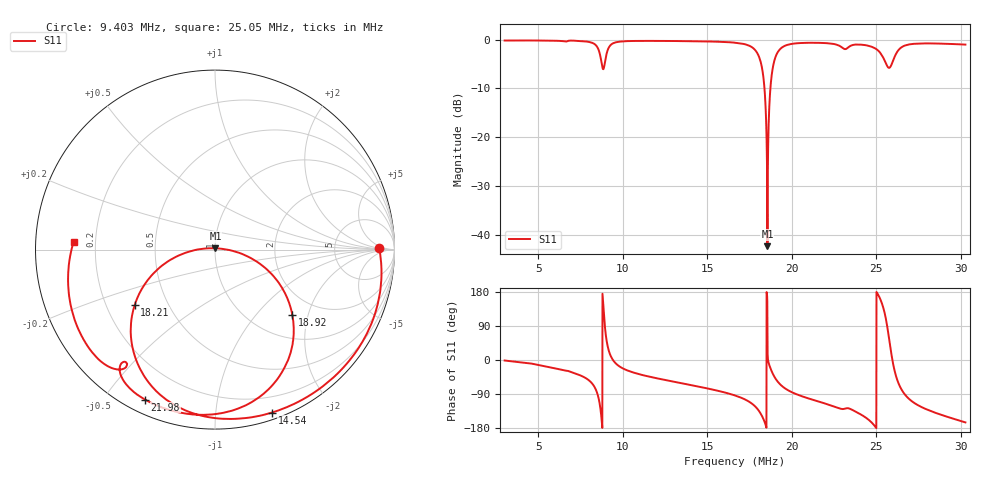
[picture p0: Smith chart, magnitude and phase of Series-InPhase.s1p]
# HZ S RI R 50
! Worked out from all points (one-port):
!   2727 points, 3 MHz to 30.27 MHz, reference 50 ohm
!   lowest |S11| = -42.3 dB at 18.56 MHz (marker M1), VSWR 1.02, Z = 50.2 + j0.737 ohm
!   |S11| at or under -10 dB: 18.38 MHz to 18.73 MHz (349.4 kHz wide, 1.88 % of centre)
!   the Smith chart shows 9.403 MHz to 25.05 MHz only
!   S11 on the Smith chart (normalised r, x): 9.403 MHz: 22, +3; 14.54 MHz: 0.06, -1.41; 18.21 MHz: 0.32, -0.28; 18.92 MHz: 1.50, -1.59; 21.98 MHz: 0.06, -0.64; 25.05 MHz: 0.12, +0.03
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3000000  0.9799 -0.0225
6411364  0.866 -0.4297
7761904  0.6584 -0.6993
8392156  0.1926 -0.8592
8582232  -0.1971 -0.7438
8742296  -0.5293 -0.2197
8982392  0.2383 0.6037
9162464  0.7493 0.3519
9402560  0.9145 0.0107
9822728  0.9099 -0.2901
1.323409e7  0.495 -0.8315
1.454462e7  0.3165 -0.9079
1.663545e7  -0.0584 -0.9293
1.761584e7  -0.348 -0.7668
1.820608e7  -0.4473 -0.3085
1.855622e7  0.0022 0.00734
1.891636e7  0.4308 -0.363
1.937655e7  0.3184 -0.7574
2.004682e7  0.0633 -0.9054
2.197759e7  -0.39 -0.8355
2.345818e7  -0.5439 -0.6674
2.504882e7  -0.7872 0.0447
2.559904e7  -0.1016 0.5462
2.597919e7  0.5972 -0.0738
2.635934e7  0.3207 -0.7321
2.686954e7  -0.1532 -0.8755
2.812004e7  -0.6243 -0.6695
3.02709e7  -0.8584 -0.2351
